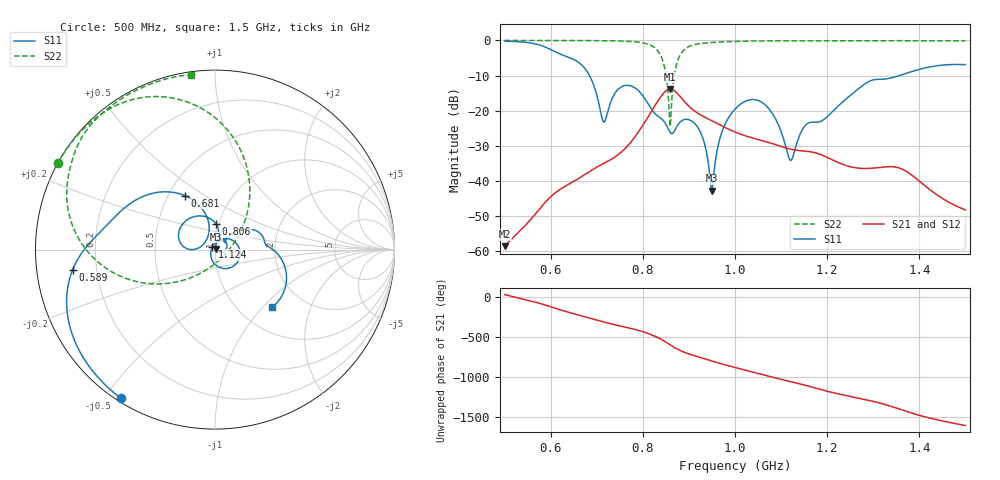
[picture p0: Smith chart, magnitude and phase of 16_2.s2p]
! TOUCHSTONE file generated by CST MICROWAVE STUDIO
! Date and time: Wed Oct 28 19:36:31 2020
! Project name: Scenario_1_Circular_Tissue_out_of_Line_v2.cst
! Parameters = {dy1=-86.5; L_HA=400; MT=2.54; Rad_Dielectric=30; Rad_Lower=7.3; Rad_Upper=30; a_HA=580; a_WG=246; b_HA=500; b_WG=121; c_HA=0; c_WG=187; d_feed=85; dx1=346; h_feed=15; h_lower=18; h_upper=40}
! Header version: 2018
! Port assignment regex: !\s*Touchstone port\s*([0-9]+)\s*=\s*(CST MWS port|CST DS port)\s*([0-9]+|Zmin|Zmax)\s*\(\"(.*)\"\)(\s*mode\s*([0-9]+))?.*
! Touchstone port assignment:
! Touchstone port 1 = CST MWS port 1 ("")
! Touchstone port 2 = CST MWS port 2 ("")
# GHz S DB R 50
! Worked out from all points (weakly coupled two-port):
!   1003 points, 500 MHz to 1.5 GHz, reference 50 ohm
!   highest |S21| = -13.82 dB at 859 MHz (marker M1); lowest = -58.6 dB at 500 MHz (marker M2)
!   lowest |S11| = -42.8 dB at 950 MHz (marker M3), VSWR 1.01, Z = 50.6 + j0.375 ohm
!   |S11| at or under -10 dB: 684.2 MHz to 1.357 GHz (672.4 MHz wide, 65.9 % of centre)
!   |S22| runs from -24.5 to 0.0 dB; largest |S21 - S12| = 6.3e-06
!   S11 on the Smith chart (normalised r, x): 500 MHz: 0.01, -0.55; 589 MHz: 0.11, -0.07; 681 MHz: 0.61, +0.41; 806 MHz: 0.97, +0.28; 1.124 GHz: 0.97, +0.03; 1.5 GHz: 1.39, -1.13
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0.5  -0.17 -122.2  -58.56 30.3  -58.56 30.3  -0.01 151.1
0.589  -1.93 -171.9  -45.98 -102.3  -45.98 -102.3  -0.02 145.0
0.667  -6.94 134.8  -38.76 122.3  -38.76 122.3  -0.04 138.4
0.681  -9.25 119.2  -37.58 100.1  -37.58 100.1  -0.05 137.0
0.715  -23.24 141.1  -35.00 46.2  -35.00 46.2  -0.08 133.0
0.755  -13.11 156.6  -31.59 -8.7  -31.59 -8.7  -0.18 126.5
0.806  -16.91 87.6  -22.89 -87.0  -22.89 -87.0  -0.86 109.8
0.834  -21.66 74.3  -16.97 -153.8  -16.97 -153.8  -3.23 85.7
0.847  -23.24 64.5  -14.72 165.1  -14.72 165.1  -7.59 62.5
0.859  -26.13 63.9  -13.82 121.5  -13.82 121.5  -24.48 -34.0
0.878  -23.67 71.0  -15.53 57.7  -15.53 57.7  -4.96 -165.8
0.915  -24.00 4.8  -20.35 -21.7  -20.35 -21.7  -1.11 159.9
0.933  -28.98 -24.9  -21.75 -53.5  -21.75 -53.5  -0.77 153.2
0.95  -42.78 30.7  -22.88 -83.3  -22.88 -83.3  -0.59 148.9
0.97  -26.67 70.3  -24.23 -117.1  -24.23 -117.1  -0.43 145.0
1  -19.57 31.9  -26.07 -163.8  -26.07 -163.8  -0.28 140.4
1.064  -18.17 -59.0  -28.68 100.5  -28.68 100.5  -0.15 133.0
1.124  -33.66 136.6  -31.04 13.8  -31.04 13.8  -0.11 127.7
1.146  -25.43 63.6  -31.44 -16.9  -31.44 -16.9  -0.11 125.9
1.167  -23.25 37.0  -31.76 -49.2  -31.76 -49.2  -0.10 124.2
1.334  -10.82 4.7  -35.91 77.3  -35.91 77.3  -0.09 111.5
1.5  -6.90 -45.5  -48.23 -170.6  -48.23 -170.7  -0.14 98.0
